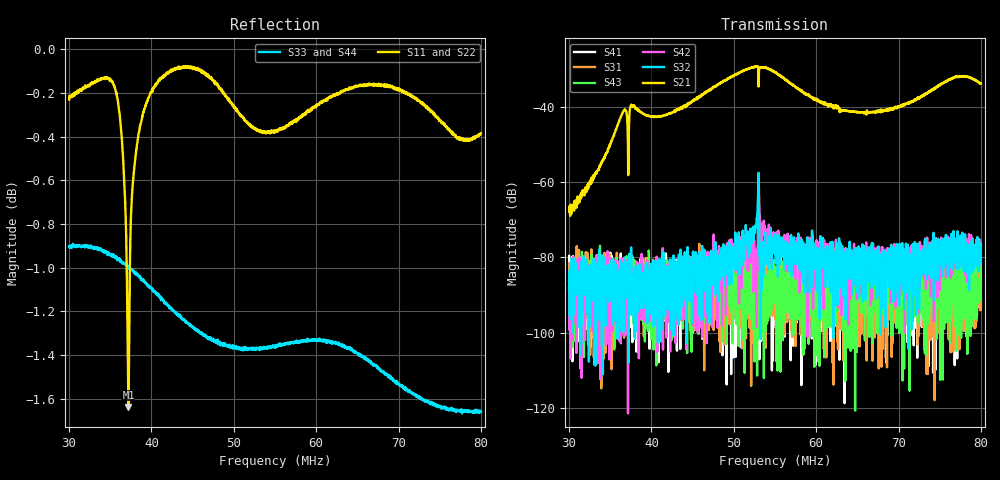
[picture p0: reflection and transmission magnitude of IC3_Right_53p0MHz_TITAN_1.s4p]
#  HZ  S  DB  R  50.00
! Rohde & Schwarz Vector Network Analyzer
! Rohde-Schwarz,ZNB8-4Port,1311601044102961,2.82
! Created: UTC 2/8/2019, 3:12:23 PM
! freq[Hz]  db:S11  ang:S11  db:S12  ang:S12  db:S13  ang:S13  db:S14  ang:S14
!  db:S21  ang:S21  db:S22  ang:S22  db:S23  ang:S23  db:S24  ang:S24
!  db:S31  ang:S31  db:S32  ang:S32  db:S33  ang:S33  db:S34  ang:S34
!  db:S41  ang:S41  db:S42  ang:S42  db:S43  ang:S43  db:S44  ang:S44
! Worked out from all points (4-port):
!   2001 points, 30 MHz to 80 MHz, reference 50 ohm
!   strongest paths, dB at 30 MHz, 42.5 MHz, 55 MHz, 67.5 MHz, 80 MHz:
!     S21: -67.4, -41.4, -30.6, -41.3, -33.7
!     S32: -88.4, -83.1, -76.1, -81.6, -80.7
!     S42: -86.1, -90.9, -74.6, -79.2, -76.4
!     S43: -88.0, -80.7, -85.7, -81.9, -86.3
!     S31: -81.6, -86.4, -95.0, -94.5, -91.4
!     S41: -79.6, -84.4, -86.1, -85.9, -92.9
!   lowest |S11| = -1.6 dB at 37.2 MHz (marker M1), VSWR 10.63, Z = 125 + j221 ohm
!   |S11| at or under -10 dB: nowhere
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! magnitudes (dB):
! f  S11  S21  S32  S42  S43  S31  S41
! 30 MHz  -0.2  -67.4  -88.4  -86.1  -88.0  -81.6  -79.6
! 37.2 MHz  -1.6  -57.6  -108.0  -87.2  -85.3  -97.2  -87.1
! 52.65 MHz  -0.4  -29.3  -71.9  -82.2  -88.5  -89.8  -83.7
! 53.15 MHz  -0.4  -29.5  -78.2  -69.2  -95.3  -100.7  -84.3
! 57.98 MHz  -0.3  -35.5  -78.1  -78.6  -82.8  -85.1  -93.8
! 65.22 MHz  -0.2  -41.4  -84.5  -81.5  -84.6  -93.4  -82.3
! 80 MHz  -0.4  -33.7  -80.7  -76.4  -86.3  -91.4  -92.9
